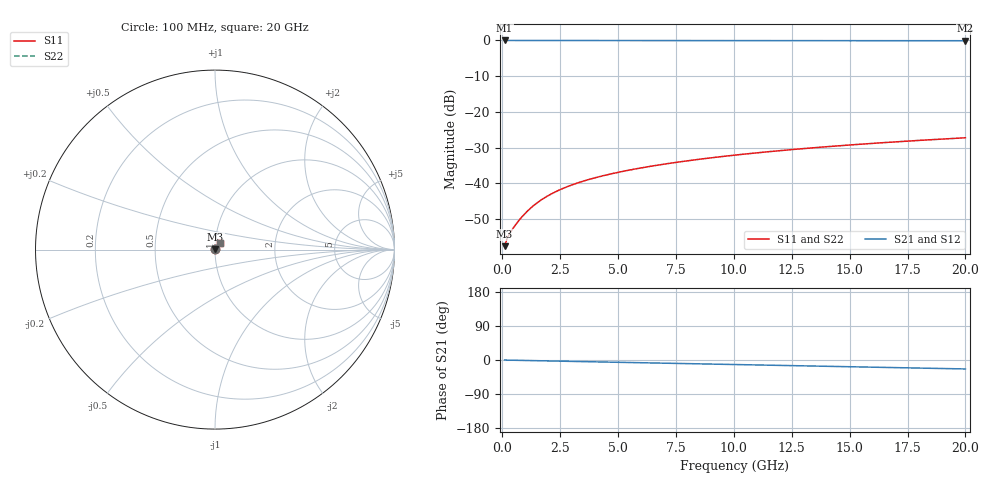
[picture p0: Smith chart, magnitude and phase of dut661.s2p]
! Touchstone file exported from HFSS 2026.1.0
!  File:  C:/ffzhzh/LocalFiles/Ansys_Project_Files/temp_train_TMRDL_661_1783009743_46388.aedt
!  Generated:  12:30:33 AM Jul  3, 2026
!  Design:  TMRDL
!  Project:  temp_train_TMRDL_661_1783009743_46388
! Variables:
!  h_bsmrdl = 2um
!  h_ox = 20um
!  h_rdl = 5um
!  h_sub = 80um
!  h_tmrdl = 5.91um
!  h_tsv = 80um
!  h_via = 3um
!  l_bsmrdl = 300um
!  l_sub = 811.95um
!  l_tmrdl = 411.95um
!  m_sub = 200um
!  pitch = 33.64um
!  r_tsv = 6um
!  s_tmrdl = 10um
!  w_bsmrdl = 18um
!  w_sub = 500um
!  w_tmrdl = 26um
!  x_tsv_center1 = 424.95um
!  x_tsv_center2 = 742.95um
!  x_tsv_center3 = 1180.9um
!  x_tsv_center4 = 1498.9um
!  x_tsv_center5 = 1936.85um
!  x_tsv_center6 = 2254.85um
# GHz S MA R 50.000000
! Terminal data exported
! Port[1] = TM_RDL1_1_T1
! Port[2] = TM_RDL1_1_T2
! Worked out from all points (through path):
!   200 points, 100 MHz to 20 GHz, reference 50 ohm
!   highest |S21| = -0.01 dB at 100 MHz (marker M1); lowest = -0.1 dB at 20 GHz (marker M2)
!   group delay of S21, straight-line fit = 3.27 ps
!   lowest |S11| = -57.6 dB at 100 MHz (marker M3), VSWR 1.00, Z = 50.1 + j0.0571 ohm
!   |S11| at or under -10 dB: start of sweep to end of sweep
!   |S22| runs from -57.6 to -27.3 dB; largest |S21 - S12| = 2.7e-15
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0.1  0.001319 25.6  0.9988 -0.1  0.9988 -0.1  0.001319 25.6
! Gamma 0 0 0 0
! Port Impedance 50 0 50 0
0.2  0.001662 34.1  0.9986 -0.3  0.9986 -0.3  0.001662 34.1
0.3  0.001929 39.4  0.9985 -0.4  0.9985 -0.4  0.001929 39.4
0.5  0.002431 48.2  0.9983 -0.6  0.9983 -0.6  0.002431 48.2
0.7  0.00297 54.5  0.9982 -0.9  0.9982 -0.9  0.00297 54.5
0.9  0.003542 58.7  0.9981 -1.1  0.9981 -1.1  0.003542 58.7
1.1  0.004131 61.5  0.998 -1.4  0.998 -1.4  0.004131 61.5
1.3  0.004726 63.4  0.9979 -1.6  0.9979 -1.6  0.004726 63.4
1.7  0.005908 65.5  0.9977 -2.1  0.9977 -2.1  0.005908 65.5
2.2  0.007336 66.5  0.9973 -2.7  0.9973 -2.7  0.007336 66.5
2.8  0.008959 66.8  0.9969 -3.4  0.9969 -3.4  0.008959 66.8
3.5  0.01074 66.6  0.9964 -4.3  0.9964 -4.3  0.01074 66.6
4.2  0.01241 66.2  0.996 -5.1  0.996 -5.1  0.01241 66.2
4.9  0.01402 65.8  0.9955 -5.9  0.9955 -5.9  0.01402 65.8
5.8  0.01601 65.4  0.995 -7.0  0.995 -7.0  0.01601 65.4
6.8  0.01815 64.8  0.9945 -8.2  0.9945 -8.2  0.01815 64.8
8.3  0.02128 63.9  0.9938 -10.0  0.9938 -10.0  0.02128 63.9
10.1  0.02493 62.6  0.9931 -12.1  0.9931 -12.1  0.02493 62.6
11.7  0.02809 61.4  0.9925 -13.9  0.9925 -13.9  0.02809 61.4
13.4  0.03137 60.0  0.9918 -15.9  0.9918 -15.9  0.03137 60.0
16.7  0.03752 57.1  0.9907 -19.8  0.9907 -19.8  0.03752 57.1
20  0.04338 54.0  0.9896 -23.6  0.9896 -23.6  0.04338 54.0
